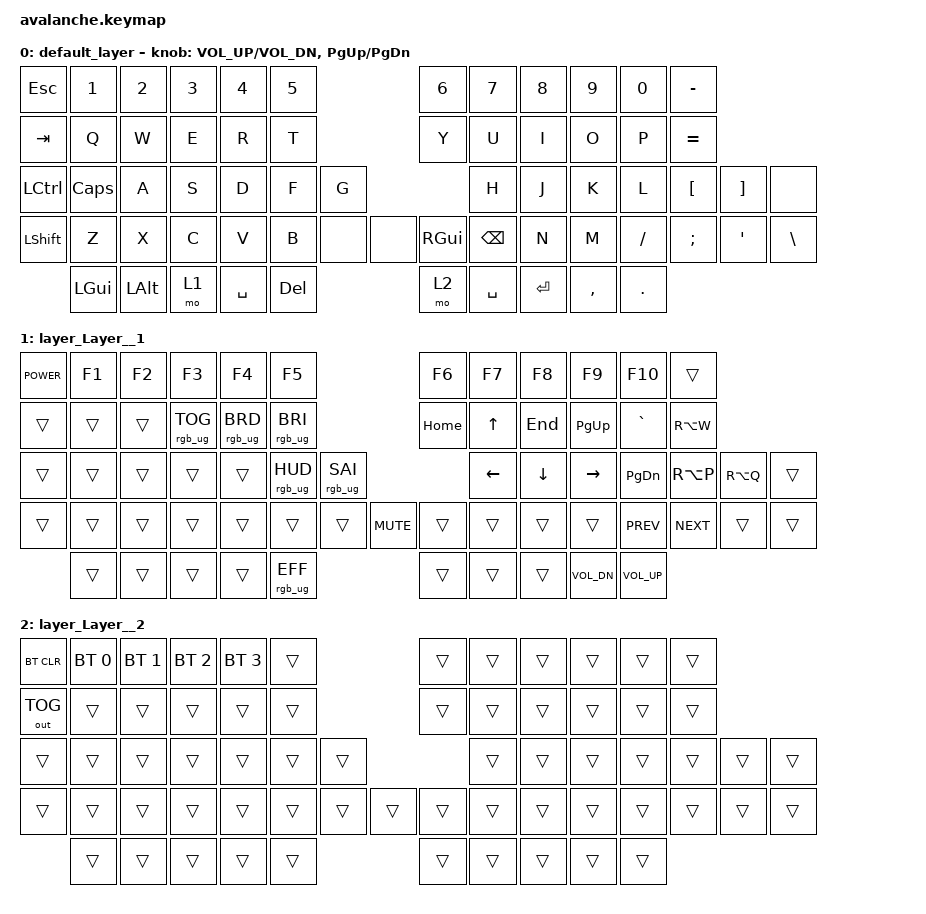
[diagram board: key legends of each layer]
#include <behaviors.dtsi>
#include <dt-bindings/zmk/keys.h>
#include <dt-bindings/zmk/rgb.h>
#include <dt-bindings/zmk/bt.h>
#include <dt-bindings/zmk/outputs.h>

/ {
    behaviors {
        bhm: balanced_homerow_mods {
            compatible = "zmk,behavior-hold-tap";
            label = "HOMEROW_MODS";
            #binding-cells = <2>;
            tapping-term-ms = <200>;// <---[[moderate duration]]
            quick-tap-ms = <0>;
            flavor = "balanced";
            bindings =
                <&kp>,
                <&kp>;
        };
        hm: homerow_mods {
            compatible = "zmk,behavior-hold-tap";
            label = "HOMEROW_MODS";
            #binding-cells = <2>;
            tapping-term-ms = <250>;
            flavor = "tap-preferred";
            bindings =
                <&kp>,
                <&kp>;
        };
    };

    keymap {
        compatible = "zmk,keymap";

        /*
        &trans  &trans  &trans  &trans  &trans  &trans                                   &trans  &trans  &trans  &trans  &trans  &trans 
// ------------------------------------------------------------------------------------------------------------------------------------------------------------------------------------
        &trans  &trans  &trans  &trans  &trans  &trans                                   &trans  &trans  &trans  &trans  &trans  &trans 
// ------------------------------------------------------------------------------------------------------------------------------------------------------------------------------------
&trans  &trans  &trans  &trans  &trans  &trans  &trans                                   &trans  &trans  &trans  &trans  &trans  &trans  &trans 
// ------------------------------------------------------------------------------------------------------------------------------------------------------------------------------------
        &trans  &trans  &trans  &trans  &trans  &trans  &trans  &trans    &trans &trans  &trans  &trans  &trans  &trans  &trans  &trans 
// ------------------------------------------------------------------------------------------------------------------------------------------------------------------------------------
                                &trans  &trans  &trans  &trans  &trans    &trans &trans  &trans  &trans  &trans
*/

        default_layer {
            bindings = <
         &kp ESC  &kp NUMBER_1        &kp N2  &kp N3     &kp N4   &kp N5                  &kp N6         &kp N7     &kp N8     &kp N9     &kp N0         &kp MINUS
         &kp TAB         &kp Q         &kp W   &kp E      &kp R    &kp T                   &kp Y          &kp U      &kp I      &kp O      &kp P         &kp EQUAL
&kp LEFT_CONTROL  &kp CAPSLOCK         &kp A   &kp S      &kp D    &kp F  &kp G                           &kp H      &kp J      &kp K      &kp L  &kp LEFT_BRACKET  &kp RIGHT_BRACKET          &none
  &kp LEFT_SHIFT         &kp Z         &kp X   &kp C      &kp V    &kp B  &none  &none  &kp RGUI  &kp BACKSPACE      &kp N      &kp M  &kp SLASH          &kp SEMI   &kp SINGLE_QUOTE  &kp BACKSLASH
                      &kp LGUI  &kp LEFT_ALT   &mo 1  &kp SPACE  &kp DEL                   &mo 2      &kp SPACE  &kp ENTER  &kp COMMA    &kp DOT
            >;

            sensor-bindings =
                <&inc_dec_kp C_VOL_UP C_VOL_DN>,
                <&inc_dec_kp PG_UP PG_DN>;
        };

        layer_Layer__1 {
            bindings = <
&kp K_POWER  &kp F1  &kp F2           &kp F3           &kp F4           &kp F5                                 &kp F6        &kp F7    &kp F8        &kp F9          &kp F10      &trans
     &trans  &trans  &trans  &rgb_ug RGB_TOG  &rgb_ug RGB_BRD  &rgb_ug RGB_BRI                               &kp HOME  &kp UP_ARROW   &kp END   &kp PAGE_UP        &kp GRAVE   &kp RA(W)
     &trans  &trans  &trans           &trans           &trans  &rgb_ug RGB_HUD  &rgb_ug RGB_SAI                            &kp LEFT  &kp DOWN     &kp RIGHT    &kp PAGE_DOWN   &kp RA(P)  &kp RA(Q)  &trans
     &trans  &trans  &trans           &trans           &trans           &trans           &trans  &kp C_MUTE    &trans        &trans    &trans        &trans       &kp C_PREV  &kp C_NEXT     &trans  &trans
             &trans  &trans           &trans           &trans  &rgb_ug RGB_EFF                                 &trans        &trans    &trans  &kp C_VOL_DN  &kp C_VOLUME_UP
            >;
        };

        layer_Layer__2 {
            bindings = <
  &bt BT_CLR  &bt BT_SEL 0  &bt BT_SEL 1  &bt BT_SEL 2  &bt BT_SEL 3  &trans                  &trans  &trans  &trans  &trans  &trans  &trans
&out OUT_TOG        &trans        &trans        &trans        &trans  &trans                  &trans  &trans  &trans  &trans  &trans  &trans
      &trans        &trans        &trans        &trans        &trans  &trans  &trans                  &trans  &trans  &trans  &trans  &trans  &trans  &trans
      &trans        &trans        &trans        &trans        &trans  &trans  &trans  &trans  &trans  &trans  &trans  &trans  &trans  &trans  &trans  &trans
                    &trans        &trans        &trans        &trans  &trans                  &trans  &trans  &trans  &trans  &trans
            >;
        };
    };
};
